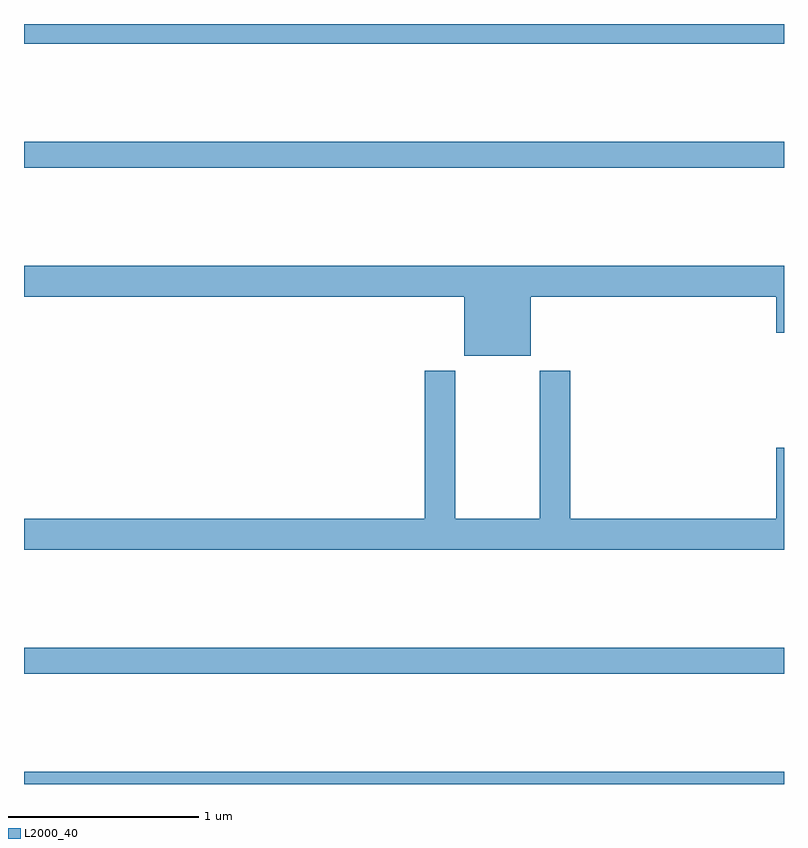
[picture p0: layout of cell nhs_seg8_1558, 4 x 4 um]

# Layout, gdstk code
import gdstk
lib = gdstk.Library(unit=1e-6, precision=1e-09)
def R(c, l, rs):  # rectangles x0, y0, x1, y1
    for r in rs: c.add(gdstk.rectangle(r[:2], r[2:], *l))
def P(c, l, *ps):  # polygons
    for p in ps: c.add(gdstk.Polygon(p, *l))
L2000_40 = (2000, 40)

nhs_seg8_1558 = lib.new_cell('nhs_seg8_1558')
R(nhs_seg8_1558, L2000_40, [(209,1149.9,213,1149.964), (209,1150.48,213,1150.616), (209,1153.144,213,1153.28), (209,1153.796,213,1153.9)])
P(nhs_seg8_1558, L2000_40, [(211.666,1152.464),(212.96,1152.464),(212.96,1152.276),(213,1152.276),(213,1152.628),(209,1152.628),(209,1152.464),(211.316,1152.464),(211.316,1152.155),(211.666,1152.155)],
  [(213,1151.671),(212.96,1151.671),(212.96,1151.296),(211.874,1151.296),(211.874,1152.076),(211.714,1152.076),(211.714,1151.296),(211.269,1151.296),(211.269,1152.076),(211.109,1152.076),(211.109,1151.296),(209,1151.296),(209,1151.132),(213,1151.132)])

lib.write_gds('nhs_seg8_1558.gds')
